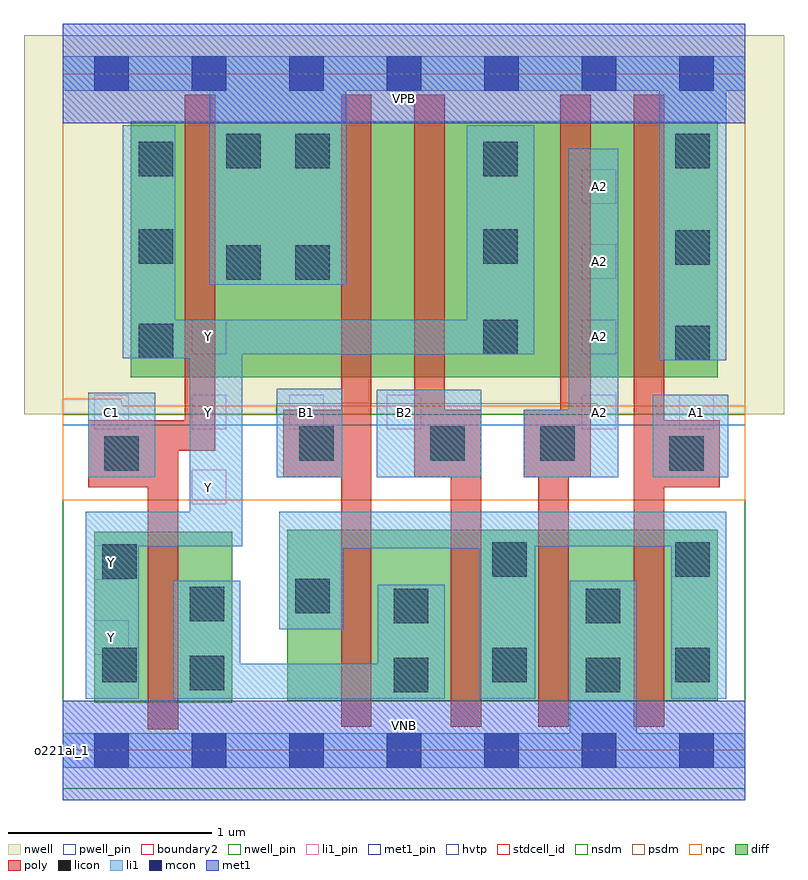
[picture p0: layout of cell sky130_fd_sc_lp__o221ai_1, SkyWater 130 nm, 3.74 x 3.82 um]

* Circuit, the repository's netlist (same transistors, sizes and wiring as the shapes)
* Copyright 2020 The SkyWater PDK Authors
*
* Licensed under the Apache License, Version 2.0 (the "License");
* you may not use this file except in compliance with the License.
* You may obtain a copy of the License at
*
*     https://www.apache.org/licenses/LICENSE-2.0
*
* Unless required by applicable law or agreed to in writing, software
* distributed under the License is distributed on an "AS IS" BASIS,
* WITHOUT WARRANTIES OR CONDITIONS OF ANY KIND, either express or implied.
* See the License for the specific language governing permissions and
* limitations under the License.
*
* SPDX-License-Identifier: Apache-2.0

.SUBCKT sky130_fd_sc_lp__o221ai_1 A1 A2 B1 B2 C1 VGND VNB VPB VPWR Y
*.PININFO A1:I A2:I B1:I B2:I C1:I VGND:I VNB:I VPB:I VPWR:I Y:O
MMPA0 VPWR A1 sndA1 VPB sky130_fd_pr__pfet_01v8_hvt m=1 w=1.26U l=0.15U mult=1
+ sa=0.265 sb=0.265 sd=0.28 area=0.063 perim=1.14
MMPA1 sndA1 A2 Y VPB sky130_fd_pr__pfet_01v8_hvt m=1 w=1.26U l=0.15U mult=1 sa=0.265
+ sb=0.265 sd=0.28 area=0.063 perim=1.14
MMPB0 VPWR B1 sndB1 VPB sky130_fd_pr__pfet_01v8_hvt m=1 w=1.26U l=0.15U mult=1
+ sa=0.265 sb=0.265 sd=0.28 area=0.063 perim=1.14
MMPB1 sndB1 B2 Y VPB sky130_fd_pr__pfet_01v8_hvt m=1 w=1.26U l=0.15U mult=1 sa=0.265
+ sb=0.265 sd=0.28 area=0.063 perim=1.14
MMPC0 VPWR C1 Y VPB sky130_fd_pr__pfet_01v8_hvt m=1 w=1.26U l=0.15U mult=1 sa=0.265
+ sb=0.265 sd=0.28 area=0.063 perim=1.14
MMNA0 pndA A1 VGND VNB sky130_fd_pr__nfet_01v8 m=1 w=0.84U l=0.15U mult=1 sa=0.265
+ sb=0.265 sd=0.28 area=0.063 perim=1.14
MMNA1 pndA A2 VGND VNB sky130_fd_pr__nfet_01v8 m=1 w=0.84U l=0.15U mult=1 sa=0.265
+ sb=0.265 sd=0.28 area=0.063 perim=1.14
MMNB0 pndB B1 pndA VNB sky130_fd_pr__nfet_01v8 m=1 w=0.84U l=0.15U mult=1 sa=0.265
+ sb=0.265 sd=0.28 area=0.063 perim=1.14
MMNB1 pndB B2 pndA VNB sky130_fd_pr__nfet_01v8 m=1 w=0.84U l=0.15U mult=1 sa=0.265
+ sb=0.265 sd=0.28 area=0.063 perim=1.14
MMNC0 Y C1 pndB VNB sky130_fd_pr__nfet_01v8 m=1 w=0.84U l=0.15U mult=1 sa=0.265
+ sb=0.265 sd=0.28 area=0.063 perim=1.14
.ENDS sky130_fd_sc_lp__o221ai_1

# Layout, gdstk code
import gdstk
lib = gdstk.Library(unit=1e-6, precision=1e-09)
def R(c, l, rs):  # rectangles x0, y0, x1, y1
    for r in rs: c.add(gdstk.rectangle(r[:2], r[2:], *l))
def A(c, l, x, y, w, h, nx, ny, dx, dy):  # array of equal rectangles
    R(c, l, [(x+i*dx, y+j*dy, x+i*dx+w, y+j*dy+h) for i in range(nx) for j in range(ny)])
def P(c, l, *ps):  # polygons
    for p in ps: c.add(gdstk.Polygon(p, *l))
nwell_pin = (64, 16)
nwell = (64, 20)
diff = (65, 20)
poly = (66, 20)
licon = (66, 44)
li1_pin = (67, 16)
li1 = (67, 20)
mcon = (67, 44)
met1_pin = (68, 16)
met1 = (68, 20)
hvtp = (78, 44)
stdcell_id = (81, 4)
nsdm = (93, 44)
psdm = (94, 20)
npc = (95, 20)
pwell_pin = (122, 16)
boundary2 = (236, 0)

sky130_fd_sc_lp__o221ai_ = lib.new_cell('sky130_fd_sc_lp__o221ai_1')
R(sky130_fd_sc_lp__o221ai_, nwell_pin, [(0,3.085,3.36,3.33)])
R(sky130_fd_sc_lp__o221ai_, nwell, [(-0.19,1.655,3.55,3.52)])
R(sky130_fd_sc_lp__o221ai_, diff, [(0.155,0.235,0.835,1.075), (1.105,0.245,3.225,1.085), (0.335,1.835,3.225,3.095)])
P(sky130_fd_sc_lp__o221ai_, poly, [(2.6,3.225),(2.45,3.225),(2.45,1.675),(2.27,1.675),(2.27,1.345),(2.34,1.345),(2.34,0.115),(2.49,0.115),(2.49,1.345),(2.6,1.345)],
  [(0.75,3.225),(0.6,3.225),(0.6,1.625),(0.125,1.625),(0.125,1.295),(0.42,1.295),(0.42,0.105),(0.57,0.105),(0.57,1.475),(0.75,1.475)],
  [(3.235,1.625),(2.96,1.625),(2.96,3.225),(2.81,3.225),(2.81,0.115),(2.96,0.115),(2.96,1.295),(3.235,1.295)],
  [(1.52,3.225),(1.37,3.225),(1.37,1.675),(1.085,1.675),(1.085,1.345),(1.37,1.345),(1.37,0.115),(1.52,0.115)],
  [(2.06,1.675),(1.88,1.675),(1.88,3.225),(1.73,3.225),(1.73,1.345),(1.91,1.345),(1.91,0.115),(2.06,0.115)])
R(sky130_fd_sc_lp__o221ai_, licon, [(1.63,0.285,1.8,0.455), (2.575,0.285,2.745,0.455), (0.625,0.295,0.795,0.465), (0.195,0.335,0.365,0.505), (2.115,0.335,2.285,0.505), (3.015,0.335,3.185,0.505), (1.63,0.625,1.8,0.795), (2.575,0.625,2.745,0.795), (0.625,0.635,0.795,0.805), (1.145,0.675,1.315,0.845), (0.195,0.845,0.365,1.015), (2.115,0.855,2.285,1.025), (3.015,0.855,3.185,1.025), (0.205,1.375,0.375,1.545), (2.985,1.375,3.155,1.545), (1.165,1.425,1.335,1.595), (1.81,1.425,1.98,1.595), (2.35,1.425,2.52,1.595), (3.015,1.92,3.185,2.09), (0.375,1.93,0.545,2.1), (2.07,1.95,2.24,2.12), (0.805,2.315,0.975,2.485), (1.145,2.315,1.315,2.485), (3.015,2.39,3.185,2.56), (0.375,2.395,0.545,2.565), (2.07,2.395,2.24,2.565), (0.375,2.825,0.545,2.995), (2.07,2.825,2.24,2.995), (0.805,2.865,0.975,3.035), (1.145,2.865,1.315,3.035), (3.015,2.865,3.185,3.035)])
A(sky130_fd_sc_lp__o221ai_, li1_pin, 0.155, 1.58, 0.17, 0.17, 4, 1, 0.48, 0)
A(sky130_fd_sc_lp__o221ai_, li1_pin, 2.555, 1.58, 0.17, 0.17, 1, 4, 0, 0.37)
R(sky130_fd_sc_lp__o221ai_, li1_pin, [(0.155,0.47,0.325,0.64), (0.155,0.84,0.325,1.01), (0.635,1.21,0.805,1.38), (3.035,1.58,3.205,1.75), (0.635,1.95,0.805,2.12)])
R(sky130_fd_sc_lp__o221ai_, li1, [(0.125,1.345,0.455,1.76), (1.055,1.345,1.375,1.78), (1.545,1.345,2.06,1.775), (2.905,1.345,3.275,1.75)])
P(sky130_fd_sc_lp__o221ai_, li1, [(2.735,2.96),(2.49,2.96),(2.49,1.675),(2.27,1.675),(2.27,1.345),(2.735,1.345)],
  [(3.36,3.415),(0,3.415),(0,3.245),(0.725,3.245),(0.725,2.29),(1.395,2.29),(1.395,3.245),(2.935,3.245),(2.935,1.92),(3.265,1.92),(3.265,3.245),(3.36,3.245)],
  [(2.32,3.075),(1.99,3.075),(1.99,2.12),(0.555,2.12),(0.555,3.075),(0.295,3.075),(0.295,1.93),(0.625,1.93),(0.625,1.175),(0.115,1.175),(0.115,0.255),(0.375,0.255),(0.375,1.005),(0.885,1.005),(0.885,1.95),(2.32,1.95)],
  [(3.36,0.085),(2.825,0.085),(2.825,0.835),(2.495,0.835),(2.495,0.085),(0,0.085),(0,-0.085),(3.36,-0.085)],
  [(1.88,0.815),(1.55,0.815),(1.55,0.425),(0.875,0.425),(0.875,0.835),(0.545,0.835),(0.545,0.255),(1.88,0.255)],
  [(3.265,1.175),(1.065,1.175),(1.065,0.595),(1.38,0.595),(1.38,0.995),(2.05,0.995),(2.05,0.255),(2.325,0.255),(2.325,1.005),(2.995,1.005),(2.995,0.255),(3.265,0.255)])
A(sky130_fd_sc_lp__o221ai_, mcon, 0.155, -0.085, 0.17, 0.17, 7, 2, 0.48, 3.33)
R(sky130_fd_sc_lp__o221ai_, met1_pin, [(0,0,3.36,0.245), (0,3.085,3.36,3.33)])
R(sky130_fd_sc_lp__o221ai_, met1, [(0,-0.245,3.36,0.245), (0,3.085,3.36,3.575)])
R(sky130_fd_sc_lp__o221ai_, hvtp, [(0,1.6,3.36,3.33)])
R(sky130_fd_sc_lp__o221ai_, stdcell_id, [(0,0,3.36,3.33)])
R(sky130_fd_sc_lp__o221ai_, nsdm, [(0,-0.19,3.36,1.655)])
P(sky130_fd_sc_lp__o221ai_, psdm, [(3.36,3.52),(0,3.52),(0,1.655),(1.055,1.655),(1.055,1.705),(2.63,1.705),(2.63,1.655),(3.36,1.655)])
P(sky130_fd_sc_lp__o221ai_, npc, [(3.36,1.695),(0.29,1.695),(0.29,1.73),(0,1.73),(0,1.23),(3.36,1.23)])
R(sky130_fd_sc_lp__o221ai_, pwell_pin, [(0,0,3.36,0.245)])
R(sky130_fd_sc_lp__o221ai_, boundary2, [(0,0,3.36,3.33)])
sky130_fd_sc_lp__o221ai_.add(gdstk.Label('VNB', (1.68,0.123), layer=64, texttype=59))
sky130_fd_sc_lp__o221ai_.add(gdstk.Label('VPB', (1.68,3.208), layer=64, texttype=5))
sky130_fd_sc_lp__o221ai_.add(gdstk.Label('o221ai_1', (0,0), layer=83, texttype=44))
sky130_fd_sc_lp__o221ai_.add(gdstk.Label('VPWR', (1.68,3.208), layer=68, texttype=5))
sky130_fd_sc_lp__o221ai_.add(gdstk.Label('VGND', (1.68,0.123), layer=68, texttype=5))
sky130_fd_sc_lp__o221ai_.add(gdstk.Label('A2', (2.64,1.665), layer=67, texttype=5))
sky130_fd_sc_lp__o221ai_.add(gdstk.Label('A2', (2.64,2.035), layer=67, texttype=5))
sky130_fd_sc_lp__o221ai_.add(gdstk.Label('A2', (2.64,2.405), layer=67, texttype=5))
sky130_fd_sc_lp__o221ai_.add(gdstk.Label('A2', (2.64,2.775), layer=67, texttype=5))
sky130_fd_sc_lp__o221ai_.add(gdstk.Label('B2', (1.68,1.665), layer=67, texttype=5))
sky130_fd_sc_lp__o221ai_.add(gdstk.Label('C1', (0.24,1.665), layer=67, texttype=5))
sky130_fd_sc_lp__o221ai_.add(gdstk.Label('A1', (3.12,1.665), layer=67, texttype=5))
sky130_fd_sc_lp__o221ai_.add(gdstk.Label('Y', (0.72,1.295), layer=67, texttype=5))
sky130_fd_sc_lp__o221ai_.add(gdstk.Label('Y', (0.72,1.665), layer=67, texttype=5))
sky130_fd_sc_lp__o221ai_.add(gdstk.Label('Y', (0.72,2.035), layer=67, texttype=5))
sky130_fd_sc_lp__o221ai_.add(gdstk.Label('B1', (1.2,1.665), layer=67, texttype=5))
sky130_fd_sc_lp__o221ai_.add(gdstk.Label('Y', (0.24,0.555), layer=67, texttype=5))
sky130_fd_sc_lp__o221ai_.add(gdstk.Label('Y', (0.24,0.925), layer=67, texttype=5))

lib.write_gds('sky130_fd_sc_lp__o221ai_1.gds')
